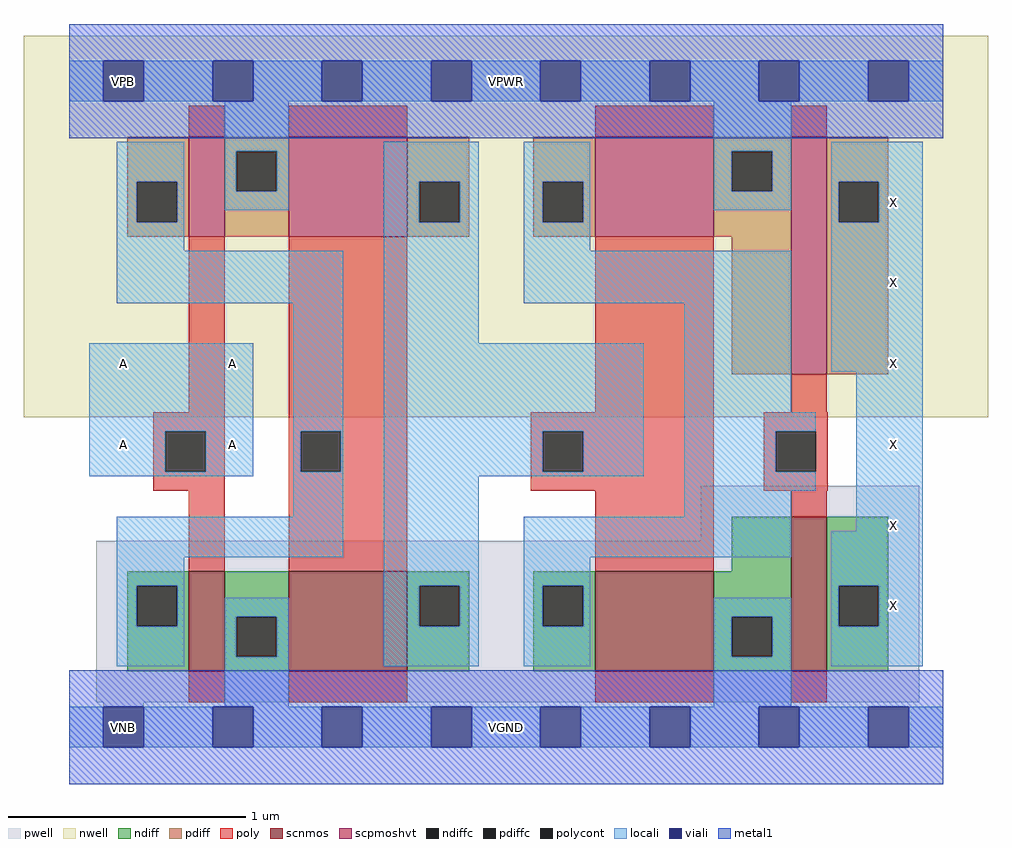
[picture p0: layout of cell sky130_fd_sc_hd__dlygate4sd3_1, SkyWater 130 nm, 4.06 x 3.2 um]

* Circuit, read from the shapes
.subckt sky130_fd_sc_hd__dlygate4sd3_1 A VGND VNB VPB VPWR X
XM1 VGND A n1 VNB sky130_fd_pr__nfet_01v8 w=0.42 l=0.15
XM2 n2 n1 VGND VNB sky130_fd_pr__nfet_01v8 w=0.42 l=0.5
XM3 VGND n2 n3 VNB sky130_fd_pr__nfet_01v8 w=0.42 l=0.5
XM4 X n3 VGND VNB sky130_fd_pr__nfet_01v8 w=0.65 l=0.15
XM5 VPWR A n1 VPB sky130_fd_pr__pfet_01v8_hvt w=0.42 l=0.15
XM6 n2 n1 VPWR VPB sky130_fd_pr__pfet_01v8_hvt w=0.42 l=0.5
XM7 VPWR n2 n3 VPB sky130_fd_pr__pfet_01v8_hvt w=0.42 l=0.5
XM8 X n3 VPWR VPB sky130_fd_pr__pfet_01v8_hvt w=1 l=0.15
.ends

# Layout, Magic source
magic
tech sky130B
magscale 1 2
<< nwell >>
rect -38 261 774 582
<< pwell >>
rect 532 157 716 203
rect 23 21 716 157
rect 29 -17 63 21
<< scnmos >>
rect 101 47 131 131
rect 185 47 285 131
rect 443 47 543 131
rect 608 47 638 177
<< scpmoshvt >>
rect 101 413 131 497
rect 185 413 285 497
rect 443 413 543 497
rect 608 297 638 497
<< ndiff >>
rect 558 131 608 177
rect 49 119 101 131
rect 49 85 57 119
rect 91 85 101 119
rect 49 47 101 85
rect 131 93 185 131
rect 131 59 141 93
rect 175 59 185 93
rect 131 47 185 59
rect 285 119 337 131
rect 285 85 295 119
rect 329 85 337 119
rect 285 47 337 85
rect 391 119 443 131
rect 391 85 399 119
rect 433 85 443 119
rect 391 47 443 85
rect 543 93 608 131
rect 543 59 558 93
rect 592 59 608 93
rect 543 47 608 59
rect 638 119 690 177
rect 638 85 648 119
rect 682 85 690 119
rect 638 47 690 85
<< pdiff >>
rect 49 459 101 497
rect 49 425 57 459
rect 91 425 101 459
rect 49 413 101 425
rect 131 485 185 497
rect 131 451 141 485
rect 175 451 185 485
rect 131 413 185 451
rect 285 459 337 497
rect 285 425 295 459
rect 329 425 337 459
rect 285 413 337 425
rect 391 459 443 497
rect 391 425 399 459
rect 433 425 443 459
rect 391 413 443 425
rect 543 485 608 497
rect 543 451 558 485
rect 592 451 608 485
rect 543 413 608 451
rect 558 297 608 413
rect 638 459 690 497
rect 638 425 648 459
rect 682 425 690 459
rect 638 297 690 425
<< ndiffc >>
rect 57 85 91 119
rect 141 59 175 93
rect 295 85 329 119
rect 399 85 433 119
rect 558 59 592 93
rect 648 85 682 119
<< pdiffc >>
rect 57 425 91 459
rect 141 451 175 485
rect 295 425 329 459
rect 399 425 433 459
rect 558 451 592 485
rect 648 425 682 459
<< poly >>
rect 101 497 131 523
rect 185 497 285 523
rect 443 497 543 523
rect 608 497 638 523
rect 101 265 131 413
rect 71 249 131 265
rect 71 215 81 249
rect 115 215 131 249
rect 71 199 131 215
rect 101 131 131 199
rect 185 249 285 413
rect 443 265 543 413
rect 608 265 638 297
rect 185 215 195 249
rect 229 215 285 249
rect 185 131 285 215
rect 389 249 543 265
rect 389 215 399 249
rect 433 215 543 249
rect 389 199 543 215
rect 585 249 639 265
rect 585 215 595 249
rect 629 215 639 249
rect 585 199 639 215
rect 443 131 543 199
rect 608 177 638 199
rect 101 21 131 47
rect 185 21 285 47
rect 443 21 543 47
rect 608 21 638 47
<< polycont >>
rect 81 215 115 249
rect 195 215 229 249
rect 399 215 433 249
rect 595 215 629 249
<< locali >>
rect 0 527 29 561
rect 63 527 121 561
rect 155 527 213 561
rect 247 527 305 561
rect 339 527 397 561
rect 431 527 489 561
rect 523 527 581 561
rect 615 527 673 561
rect 707 527 736 561
rect 40 459 97 493
rect 40 425 57 459
rect 91 425 97 459
rect 131 485 185 527
rect 131 451 141 485
rect 175 451 185 485
rect 131 435 185 451
rect 265 459 345 493
rect 40 401 97 425
rect 265 425 295 459
rect 329 425 345 459
rect 40 357 231 401
rect 17 249 155 323
rect 17 215 81 249
rect 115 215 155 249
rect 17 211 155 215
rect 189 249 231 357
rect 189 215 195 249
rect 229 215 231 249
rect 189 177 231 215
rect 40 143 231 177
rect 265 323 345 425
rect 383 459 439 493
rect 383 425 399 459
rect 433 425 439 459
rect 543 485 608 527
rect 543 451 558 485
rect 592 451 608 485
rect 543 435 608 451
rect 642 459 719 493
rect 383 401 439 425
rect 642 425 648 459
rect 682 425 719 459
rect 383 357 608 401
rect 265 249 484 323
rect 265 215 399 249
rect 433 215 484 249
rect 265 211 484 215
rect 518 265 608 357
rect 642 299 719 425
rect 518 249 629 265
rect 518 215 595 249
rect 40 119 97 143
rect 40 85 57 119
rect 91 85 97 119
rect 265 119 345 211
rect 518 199 629 215
rect 518 177 608 199
rect 40 51 97 85
rect 131 93 185 109
rect 131 59 141 93
rect 175 59 185 93
rect 131 17 185 59
rect 265 85 295 119
rect 329 85 345 119
rect 265 51 345 85
rect 383 143 608 177
rect 663 165 719 299
rect 383 119 439 143
rect 383 85 399 119
rect 433 85 439 119
rect 642 119 719 165
rect 383 51 439 85
rect 543 93 608 109
rect 543 59 558 93
rect 592 59 608 93
rect 543 17 608 59
rect 642 85 648 119
rect 682 85 719 119
rect 642 51 719 85
rect 0 -17 29 17
rect 63 -17 121 17
rect 155 -17 213 17
rect 247 -17 305 17
rect 339 -17 397 17
rect 431 -17 489 17
rect 523 -17 581 17
rect 615 -17 673 17
rect 707 -17 736 17
<< viali >>
rect 29 527 63 561
rect 121 527 155 561
rect 213 527 247 561
rect 305 527 339 561
rect 397 527 431 561
rect 489 527 523 561
rect 581 527 615 561
rect 673 527 707 561
rect 29 -17 63 17
rect 121 -17 155 17
rect 213 -17 247 17
rect 305 -17 339 17
rect 397 -17 431 17
rect 489 -17 523 17
rect 581 -17 615 17
rect 673 -17 707 17
<< metal1 >>
rect 0 561 736 592
rect 0 527 29 561
rect 63 527 121 561
rect 155 527 213 561
rect 247 527 305 561
rect 339 527 397 561
rect 431 527 489 561
rect 523 527 581 561
rect 615 527 673 561
rect 707 527 736 561
rect 0 496 736 527
rect 0 17 736 48
rect 0 -17 29 17
rect 63 -17 121 17
rect 155 -17 213 17
rect 247 -17 305 17
rect 339 -17 397 17
rect 431 -17 489 17
rect 523 -17 581 17
rect 615 -17 673 17
rect 707 -17 736 17
rect 0 -48 736 -17
<< labels >>
flabel locali s 29 221 63 255 0 FreeSans 200 0 0 0 A
port 1 nsew signal input
flabel locali s 677 153 711 187 0 FreeSans 200 0 0 0 X
port 6 nsew signal output
flabel locali s 29 289 63 323 0 FreeSans 200 0 0 0 A
port 1 nsew signal input
flabel locali s 677 85 711 119 0 FreeSans 200 0 0 0 X
port 6 nsew signal output
flabel locali s 121 221 155 255 0 FreeSans 200 0 0 0 A
port 1 nsew signal input
flabel locali s 121 289 155 323 0 FreeSans 200 0 0 0 A
port 1 nsew signal input
flabel locali s 677 425 711 459 0 FreeSans 200 0 0 0 X
port 6 nsew signal output
flabel locali s 677 289 711 323 0 FreeSans 200 0 0 0 X
port 6 nsew signal output
flabel locali s 677 357 711 391 0 FreeSans 200 0 0 0 X
port 6 nsew signal output
flabel locali s 677 221 711 255 0 FreeSans 200 0 0 0 X
port 6 nsew signal output
flabel nwell s 29 527 63 561 0 FreeSans 200 0 0 0 VPB
port 4 nsew power bidirectional
flabel pwell s 29 -17 63 17 0 FreeSans 200 0 0 0 VNB
port 3 nsew ground bidirectional
flabel metal1 s 29 -17 63 17 0 FreeSans 200 0 0 0 VGND
port 2 nsew ground bidirectional abutment
flabel metal1 s 29 527 63 561 0 FreeSans 200 0 0 0 VPWR
port 5 nsew power bidirectional abutment
rlabel comment s 0 0 0 0 4 dlygate4sd3_1
rlabel metal1 s 0 -48 736 48 1 VGND
port 2 nsew ground bidirectional abutment
rlabel metal1 s 0 496 736 592 1 VPWR
port 5 nsew power bidirectional abutment
<< properties >>
string FIXED_BBOX 0 0 736 544
string GDS_END 2894130
string GDS_FILE $PDKPATH/libs.ref/sky130_fd_sc_hd/gds/sky130_fd_sc_hd.gds
string GDS_START 2888210
string LEFclass CORE
string LEFsite unithd
string LEFsymmetry X Y R90
string path 0.000 0.000 18.400 0.000 
<< end >>
